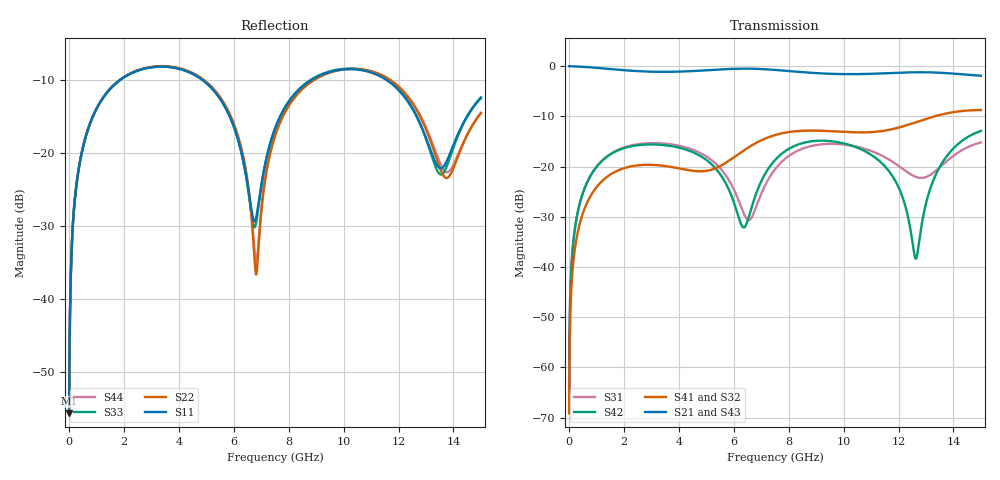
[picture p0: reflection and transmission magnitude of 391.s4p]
! Created with skrf 1.8.0 (http://scikit-rf.org).
# GHz S RI R 50.0
!freq ReS11 ImS11 ReS12 ImS12 ReS13 ImS13
! ReS14 ImS14
! ReS21 ImS21 ReS22 ImS22 ReS23 ImS23
! ReS24 ImS24
! ReS31 ImS31 ReS32 ImS32 ReS33 ImS33
! ReS34 ImS34
! ReS41 ImS41 ReS42 ImS42 ReS43 ImS43
! ReS44 ImS44
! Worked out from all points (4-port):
!   2499 points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, 5 MHz to 15 GHz, reference 50 ohm
!   strongest paths, dB at 5 MHz, 3.476 GHz, 7.19 GHz, 11.1 GHz, 15 GHz:
!     S21: 0.0, -1.1, -0.6, -1.5, -1.9
!     S43: 0.0, -1.1, -0.6, -1.5, -1.9
!     S41: -69.2, -19.9, -14.3, -13.1, -8.8
!     S32: -69.2, -20.0, -14.3, -13.2, -8.8
!     S42: -65.0, -15.7, -21.0, -18.0, -12.9
!     S31: -65.0, -15.4, -23.2, -17.1, -15.2
!   lowest |S11| = -55.6 dB at 5 MHz (marker M1), VSWR 1.00, Z = 50.1 + j0.1 ohm
!   |S11| at or under -10 dB: start of sweep to 1.88 GHz; 4.842 GHz to 8.849 GHz (4.007 GHz wide, 58.5 % of centre); 11.54 GHz to end of sweep
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0.005  0.00132 0.001  0.9987 -0.00258  6.67e-05 0.000555  -6.46e-05 -0.000343
       0.9987 -0.00258  0.00132 0.001  -6.46e-05 -0.000343  6.66e-05 0.000555
       6.67e-05 0.000555  -6.46e-05 -0.000343  0.00132 0.001  0.9987 -0.00258
       -6.46e-05 -0.000343  6.66e-05 0.000555  0.9987 -0.00258  0.00132 0.001
0.4126719  0.0255 0.0859  0.9646 -0.2102  0.0131 0.0431  -0.0106 -0.0262
           0.9646 -0.2102  0.0256 0.0859  -0.0105 -0.0262  0.0125 0.0432
           0.0131 0.0431  -0.0105 -0.0262  0.0255 0.0859  0.9646 -0.2102
           -0.0106 -0.0262  0.0125 0.0432  0.9646 -0.2102  0.0256 0.0859
2.125886  0.2961 0.1637  0.481 -0.7666  0.1506 0.0497  -0.0982 0.00657
          0.481 -0.7666  0.2992 0.1613  -0.0979 0.0062  0.143 0.0619
          0.1506 0.0497  -0.0979 0.0062  0.2963 0.1635  0.481 -0.7667
          -0.0982 0.00657  0.143 0.0619  0.481 -0.7667  0.299 0.1614
6.777824  0.034 0.00363  -0.9374 -0.0732  -0.0221 0.0299  -0.00582 0.1697
          -0.9374 -0.0732  0.0146 -0.00779  -0.0114 0.1695  0.0327 0.0382
          -0.0221 0.0299  -0.0114 0.1695  0.031 0.00395  -0.9375 -0.0728
          -0.00582 0.1697  0.0327 0.0382  -0.9375 -0.0728  0.0173 -0.00743
8.497291  0.2299 0.1653  -0.6514 0.5775  0.1359 0.0643  0.1861 0.13
          -0.6514 0.5775  0.21 0.1736  0.1807 0.1355  0.164 0.0481
          0.1359 0.0643  0.1807 0.1355  0.23 0.1685  -0.6506 0.5778
          0.1861 0.13  0.164 0.0481  -0.6506 0.5778  0.2118 0.1721
12.63026  0.1334 -0.1233  0.6995 0.5142  -0.0678 -0.0402  0.1516 -0.2307
          0.6995 0.5142  0.1374 -0.1452  0.166 -0.2208  -0.012 -0.00157
          -0.0678 -0.0402  0.166 -0.2208  0.1297 -0.1283  0.6991 0.5138
          0.1516 -0.2307  -0.012 -0.00157  0.6991 0.5138  0.143 -0.1447
15  0.201 0.1241  0.7143 -0.3648  0.1144 0.1309  -0.2203 -0.2912
    0.7143 -0.3648  0.1565 0.1022  -0.2014 -0.3031  0.2079 0.0902
    0.1144 0.1309  -0.2014 -0.3031  0.1991 0.1325  0.713 -0.3662
    -0.2203 -0.2912  0.2079 0.0902  0.713 -0.3662  0.1592 0.0975
